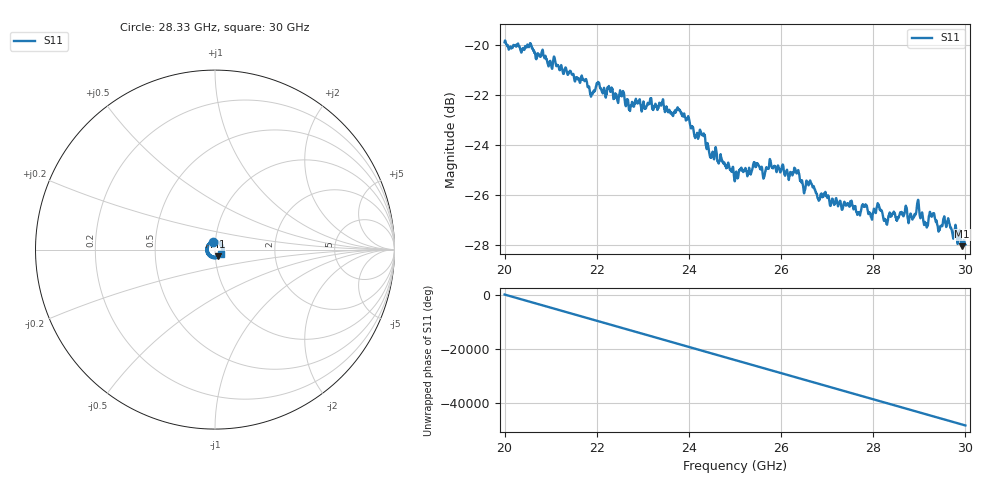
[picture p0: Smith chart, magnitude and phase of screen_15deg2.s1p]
#  HZ  S  RI  R  50.00
! Rohde & Schwarz ZVA40 4Ports - Version 3.90 - 1145.1110k42 SN: 100403
! Date: 2023-09-30 06:53:44
! Measurement: S12
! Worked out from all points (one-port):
!   5001 points, 20 GHz to 30 GHz, reference 50 ohm
!   lowest |S11| = -28.0 dB at 29.93 GHz (marker M1), VSWR 1.08, Z = 51.5 - j3.75 ohm
!   |S11| at or under -10 dB: start of sweep to end of sweep
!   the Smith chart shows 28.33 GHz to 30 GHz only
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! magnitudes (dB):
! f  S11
! 20 GHz  -19.9
! 20.54 GHz  -20.0
! 21.25 GHz  -21.0
! 21.72 GHz  -21.4
! 21.89 GHz  -21.9
! 22.03 GHz  -21.5
! 22.5 GHz  -21.9
! 22.74 GHz  -22.4
! 23.75 GHz  -22.5
! 24.16 GHz  -23.6
! 24.3 GHz  -23.6
! 24.5 GHz  -24.4
! 25 GHz  -25.4
! 25.45 GHz  -24.9
! 26.25 GHz  -25.2
! 26.8 GHz  -26.1
! 27.5 GHz  -26.4
! 27.94 GHz  -26.8
! 28.12 GHz  -26.4
! 28.27 GHz  -27.0
! 28.75 GHz  -26.9
! 28.96 GHz  -26.3
! 29.14 GHz  -27.1
! 29.27 GHz  -26.9
! 29.43 GHz  -27.4
! 29.58 GHz  -27.3
! 29.93 GHz  -28.0
! 30 GHz  -28.0
